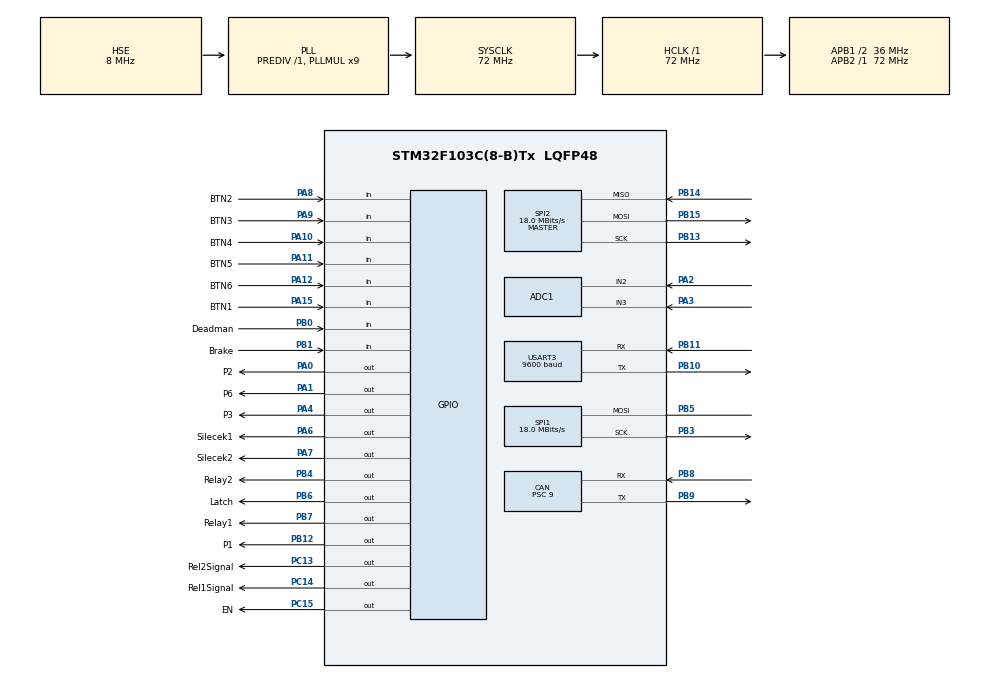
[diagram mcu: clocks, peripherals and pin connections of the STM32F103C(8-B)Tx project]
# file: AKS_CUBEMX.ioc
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ADC1.Channel-2\#ChannelRegularConversion=ADC_CHANNEL_2
ADC1.Channel-3\#ChannelRegularConversion=ADC_CHANNEL_3
ADC1.ContinuousConvMode=ENABLE
ADC1.NbrOfConversion=2
ADC1.NbrOfConversionFlag=1
ADC1.Rank-2\#ChannelRegularConversion=1
ADC1.Rank-3\#ChannelRegularConversion=2
ADC1.SamplingTime-2\#ChannelRegularConversion=ADC_SAMPLETIME_55CYCLES_5
ADC1.SamplingTime-3\#ChannelRegularConversion=ADC_SAMPLETIME_55CYCLES_5
ADC1.master=1
CAN.BS1=CAN_BS1_3TQ
CAN.BS2=CAN_BS2_4TQ
CAN.CalculateBaudRate=500000
CAN.CalculateTimeBit=2000
CAN.CalculateTimeQuantum=250.0
CAN.Prescaler=9
Dma.ADC1.0.Direction=DMA_PERIPH_TO_MEMORY
Dma.ADC1.0.Instance=DMA1_Channel1
Dma.ADC1.0.MemDataAlignment=DMA_MDATAALIGN_WORD
Dma.ADC1.0.MemInc=DMA_MINC_ENABLE
Dma.ADC1.0.Mode=DMA_CIRCULAR
Dma.ADC1.0.PeriphDataAlignment=DMA_PDATAALIGN_WORD
Dma.ADC1.0.PeriphInc=DMA_PINC_DISABLE
Dma.ADC1.0.Priority=DMA_PRIORITY_LOW
Dma.Request0=ADC1
Mcu.Family=STM32F1
Mcu.Name=STM32F103C(8-B)Tx
Mcu.Package=LQFP48
NVIC.DMA1_Channel1_IRQn=true\:0\:0\:false\:false\:true\:false\:true\:true
NVIC.PriorityGroup=NVIC_PRIORITYGROUP_4
NVIC.TIM2_IRQn=true\:0\:0\:false\:false\:true\:true\:true\:true
NVIC.TIM3_IRQn=true\:0\:0\:false\:false\:true\:true\:true\:true
NVIC.TIM4_IRQn=true\:0\:0\:false\:false\:true\:true\:true\:true
PA0-WKUP.GPIO_Label=P2
PA0-WKUP.Signal=GPIO_Output
PA1.GPIO_Label=P6
PA1.Signal=GPIO_Output
PA10.GPIO_Label=BTN4
PA10.GPIO_PuPd=GPIO_PULLDOWN
PA10.Signal=GPIO_Input
PA11.GPIO_Label=BTN5
PA11.GPIO_PuPd=GPIO_PULLDOWN
PA11.Signal=GPIO_Input
PA12.GPIO_Label=BTN6
PA12.GPIO_PuPd=GPIO_PULLDOWN
PA12.Signal=GPIO_Input
PA13.Mode=Serial_Wire
PA13.Signal=SYS_JTMS-SWDIO
PA14.Mode=Serial_Wire
PA14.Signal=SYS_JTCK-SWCLK
PA15.GPIO_Label=BTN1
PA15.GPIO_PuPd=GPIO_PULLDOWN
PA15.Signal=GPIO_Input
PA2.Signal=ADCx_IN2
PA3.Signal=ADCx_IN3
PA4.GPIO_Label=P3
PA4.Signal=GPIO_Output
PA6.GPIO_Label=Silecek1
PA6.Signal=GPIO_Output
PA7.GPIO_Label=Silecek2
PA7.Signal=GPIO_Output
PA8.GPIO_Label=BTN2
PA8.GPIO_PuPd=GPIO_PULLDOWN
PA8.Signal=GPIO_Input
PA9.GPIO_Label=BTN3
PA9.GPIO_PuPd=GPIO_PULLDOWN
PA9.Signal=GPIO_Input
PB0.GPIO_Label=Deadman
PB0.GPIO_PuPd=GPIO_PULLDOWN
PB0.Signal=GPIO_Input
PB1.GPIO_Label=Brake
PB1.GPIO_PuPd=GPIO_PULLDOWN
PB1.Signal=GPIO_Input
PB10.Mode=Asynchronous
PB10.Signal=USART3_TX
PB11.Mode=Asynchronous
PB11.Signal=USART3_RX
PB12.GPIO_Label=P1
PB12.Signal=GPIO_Output
PB13.Mode=Full_Duplex_Master
PB13.Signal=SPI2_SCK
PB14.Mode=Full_Duplex_Master
PB14.Signal=SPI2_MISO
PB15.Mode=Full_Duplex_Master
PB15.Signal=SPI2_MOSI
PB3.Mode=Simplex_Bidirectional_Master
PB3.Signal=SPI1_SCK
PB4.GPIO_Label=Relay2
PB4.Signal=GPIO_Output
PB5.Mode=Simplex_Bidirectional_Master
PB5.Signal=SPI1_MOSI
PB6.GPIO_Label=Latch
PB6.Signal=GPIO_Output
PB7.GPIO_Label=Relay1
PB7.Signal=GPIO_Output
PB8.Mode=CAN_Activate
PB8.Signal=CAN_RX
PB9.Mode=CAN_Activate
PB9.Signal=CAN_TX
PC13-TAMPER-RTC.GPIO_Label=Rel2Signal
PC13-TAMPER-RTC.Signal=GPIO_Output
PC14-OSC32_IN.GPIO_Label=Rel1Signal
PC14-OSC32_IN.Signal=GPIO_Output
PC15-OSC32_OUT.GPIO_Label=EN
PC15-OSC32_OUT.Signal=GPIO_Output
PD0-OSC_IN.Mode=HSE-External-Oscillator
PD0-OSC_IN.Signal=RCC_OSC_IN
PD1-OSC_OUT.Mode=HSE-External-Oscillator
PD1-OSC_OUT.Signal=RCC_OSC_OUT
ProjectManager.HeapSize=0x200
ProjectManager.StackSize=0x400
ProjectManager.TargetToolchain=MDK-ARM V5.32
RCC.ADCPresc=RCC_ADCPCLK2_DIV6
RCC.AHBFreq_Value=72000000
RCC.APB1CLKDivider=RCC_HCLK_DIV2
RCC.APB1Freq_Value=36000000
RCC.APB1TimFreq_Value=72000000
RCC.APB2Freq_Value=72000000
RCC.APB2TimFreq_Value=72000000
RCC.HCLKFreq_Value=72000000
RCC.PLLMUL=RCC_PLL_MUL9
RCC.PLLSourceVirtual=RCC_PLLSOURCE_HSE
RCC.SYSCLKFreq_VALUE=72000000
RCC.SYSCLKSource=RCC_SYSCLKSOURCE_PLLCLK
RCC.USBFreq_Value=72000000
SH.ADCx_IN2.0=ADC1_IN2,IN2
SH.ADCx_IN3.0=ADC1_IN3,IN3
SPI1.BaudRatePrescaler=SPI_BAUDRATEPRESCALER_4
SPI1.CalculateBaudRate=18.0 MBits/s
SPI1.Direction=SPI_DIRECTION_1LINE
SPI1.Mode=SPI_MODE_MASTER
SPI1.VirtualType=VM_MASTER
SPI2.BaudRatePrescaler=SPI_BAUDRATEPRESCALER_2
SPI2.CalculateBaudRate=18.0 MBits/s
SPI2.Direction=SPI_DIRECTION_2LINES
SPI2.Mode=SPI_MODE_MASTER
SPI2.VirtualType=VM_MASTER
TIM2.AutoReloadPreload=TIM_AUTORELOAD_PRELOAD_ENABLE
TIM2.Period=7200
TIM2.Prescaler=500
TIM3.AutoReloadPreload=TIM_AUTORELOAD_PRELOAD_ENABLE
TIM3.Period=9999
TIM3.Prescaler=3599
TIM4.AutoReloadPreload=TIM_AUTORELOAD_PRELOAD_ENABLE
TIM4.Period=6999
TIM4.Prescaler=3599
USART3.BaudRate=9600
USART3.Mode=MODE_TX_RX
USART3.VirtualMode=VM_ASYNC
VP_TIM2_VS_ClockSourceINT.Mode=Internal
VP_TIM3_VS_ClockSourceINT.Mode=Internal
VP_TIM4_VS_ClockSourceINT.Mode=Internal
board=custom

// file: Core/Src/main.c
/* USER CODE BEGIN Header */
/**
  ******************************************************************************
  * @file           : main.c
  * @brief          : Main program body
  ******************************************************************************
  * @attention
  *
  * Copyright (c) 2023 STMicroelectronics.
  * All rights reserved.
  *
  * This software is licensed under terms that can be found in the LICENSE file
  * in the root directory of this software component.
  * If no LICENSE file comes with this software, it is provided AS-IS.
  *
  ******************************************************************************
  */
/* USER CODE END Header */
#include "main.h"

/* USER CODE BEGIN Includes */
#include "string.h"
#include "stdio.h"
/* USER CODE END Includes */

ADC_HandleTypeDef hadc1;
DMA_HandleTypeDef hdma_adc1;

CAN_HandleTypeDef hcan;

SPI_HandleTypeDef hspi1;
SPI_HandleTypeDef hspi2;

TIM_HandleTypeDef htim2;
TIM_HandleTypeDef htim3;
TIM_HandleTypeDef htim4;

UART_HandleTypeDef huart3;

/* USER CODE BEGIN PV */
uint8_t BTN_States = 0;
uint8_t emergency_check_deadman = 0;
uint8_t emergency_check_can = 0;

uint16_t BTN1;
uint16_t BTN2;
uint16_t BTN3;
uint16_t Brake;
uint16_t Deadman;
uint16_t Wiper;
uint16_t Hazard;

uint32_t adcbuffer[2];
uint32_t adc_data1;
uint32_t adc_data2;

uint32_t Riso_neg;
uint32_t Riso_pos;
double isoneg,isopos;
double Vref = 2.5;
double Rs1 = 5110;
double Rs2 = 5110;
double Rps1_Rps2 = 10000;
double Rns1_Rns2 = 10000;
uint8_t SoC;//soc degeri bataryadan çekilecek

CAN_FilterTypeDef canfilterconfig;
CAN_TxHeaderTypeDef   TxHeader;
CAN_RxHeaderTypeDef   RxHeader;
uint8_t               TxData[8];
uint8_t               RxData[8];
uint32_t              TxMailbox;
uint8_t				  			RFData[64];

uint8_t UARTData[6];
uint8_t endcom[] = {0xFF,0xFF,0xFF};

int wiperFlag = 0;

/* USER CODE END PV */

void SystemClock_Config(void);
static void MX_GPIO_Init(void);
static void MX_DMA_Init(void);
static void MX_CAN_Init(void);
static void MX_SPI1_Init(void);
static void MX_SPI2_Init(void);
static void MX_USART3_UART_Init(void);
static void MX_TIM2_Init(void);
static void MX_ADC1_Init(void);
static void MX_TIM3_Init(void);
static void MX_TIM4_Init(void);
/* USER CODE BEGIN PFP */

void HAL_ADC_ConvCpltCallback(ADC_HandleTypeDef* hadc){

	if(hadc->Instance == ADC1){
		adc_data1 = adcbuffer[0];
		adc_data2 = adcbuffer[1];
	}
}

/* USER CODE END PFP */

/* USER CODE BEGIN 0 */

enum Controls
{
	Headlight_On,
	Headlight_Off,
	LeftSignal_On,
	LeftSignal_Off,
	RightSignal_On,
	RightSignal_Off,
	Brake_On,
	Brake_Off,
	Deadman_On,
	Deadman_Off,
	Wiper_On,
	Wiper_Off,
	Hazard_On,
	Hazard_Off
};

void buttonListener(void);
void updateLight(enum Controls command);
void ADC_RELAY(void);
float map(float num, float oldmax, float oldmin, float conMax, float conMin);
void emergency(void);
void send_Riso(int control);
void GET_CAN_MESSAGE(void);

/* USER CODE END 0 */

int main(void)
{

  /* MCU Configuration--------------------------------------------------------*/

  /* Reset of all peripherals, Initializes the Flash interface and the Systick. */
  HAL_Init();

  /* Configure the system clock */
  SystemClock_Config();

  /* Initialize all configured peripherals */
  MX_GPIO_Init();
  MX_DMA_Init();
  MX_CAN_Init();
  MX_SPI1_Init();
  MX_SPI2_Init();
  MX_USART3_UART_Init();
  MX_TIM2_Init();
  MX_ADC1_Init();
  MX_TIM3_Init();
  MX_TIM4_Init();
  /* USER CODE BEGIN 2 */

	TxHeader.DLC = 8;
	TxHeader.IDE = CAN_ID_STD;
	TxHeader.RTR = CAN_RTR_DATA;
	TxHeader.StdId = 0x7FF;

	TxHeader.TransmitGlobalTime = DISABLE;

	TxData[0] = 0x80;
	TxData[1] = 0x80;

	HAL_TIM_Base_Start_IT(&htim2);
	HAL_TIM_Base_Start_IT(&htim3);
	HAL_TIM_Base_Start_IT(&htim4);

	HAL_ADC_Start_DMA(&hadc1,adcbuffer,2);

  canfilterconfig.FilterFIFOAssignment = CAN_RX_FIFO0;
  canfilterconfig.FilterScale = CAN_FILTERSCALE_32BIT;
	canfilterconfig.FilterActivation = ENABLE;

  HAL_CAN_ConfigFilter(&hcan, &canfilterconfig);
	HAL_CAN_Start(&hcan);

  /* USER CODE END 2 */

  /* Infinite loop */
  /* USER CODE BEGIN WHILE */
  while (1)
  {
		HAL_CAN_GetRxMessage(&hcan,CAN_RX_FIFO0,&RxHeader,RxData);
		GET_CAN_MESSAGE();

    /* USER CODE END WHILE */

  }
}

void SystemClock_Config(void)
{
  RCC_OscInitTypeDef RCC_OscInitStruct = {0};
  RCC_ClkInitTypeDef RCC_ClkInitStruct = {0};
  RCC_PeriphCLKInitTypeDef PeriphClkInit = {0};

  /** Initializes the RCC Oscillators according to the specified parameters
  * in the RCC_OscInitTypeDef structure.
  */
  RCC_OscInitStruct.OscillatorType = RCC_OSCILLATORTYPE_HSE;
  RCC_OscInitStruct.HSEState = RCC_HSE_ON;
  RCC_OscInitStruct.HSEPredivValue = RCC_HSE_PREDIV_DIV1;
  RCC_OscInitStruct.HSIState = RCC_HSI_ON;
  RCC_OscInitStruct.PLL.PLLState = RCC_PLL_ON;
  RCC_OscInitStruct.PLL.PLLSource = RCC_PLLSOURCE_HSE;
  RCC_OscInitStruct.PLL.PLLMUL = RCC_PLL_MUL9;
  if (HAL_RCC_OscConfig(&RCC_OscInitStruct) != HAL_OK)
  {
    Error_Handler();
  }

  /** Initializes the CPU, AHB and APB buses clocks
  */
  RCC_ClkInitStruct.ClockType = RCC_CLOCKTYPE_HCLK|RCC_CLOCKTYPE_SYSCLK
                              |RCC_CLOCKTYPE_PCLK1|RCC_CLOCKTYPE_PCLK2;
  RCC_ClkInitStruct.SYSCLKSource = RCC_SYSCLKSOURCE_PLLCLK;
  RCC_ClkInitStruct.AHBCLKDivider = RCC_SYSCLK_DIV1;
  RCC_ClkInitStruct.APB1CLKDivider = RCC_HCLK_DIV2;
  RCC_ClkInitStruct.APB2CLKDivider = RCC_HCLK_DIV1;

  if (HAL_RCC_ClockConfig(&RCC_ClkInitStruct, FLASH_LATENCY_2) != HAL_OK)
  {
    Error_Handler();
  }
  PeriphClkInit.PeriphClockSelection = RCC_PERIPHCLK_ADC;
  PeriphClkInit.AdcClockSelection = RCC_ADCPCLK2_DIV6;
  if (HAL_RCCEx_PeriphCLKConfig(&PeriphClkInit) != HAL_OK)
  {
    Error_Handler();
  }
}

static void MX_ADC1_Init(void)
{

  ADC_ChannelConfTypeDef sConfig = {0};

  /** Common config
  */
  hadc1.Instance = ADC1;
  hadc1.Init.ScanConvMode = ADC_SCAN_ENABLE;
  hadc1.Init.ContinuousConvMode = ENABLE;
  hadc1.Init.DiscontinuousConvMode = DISABLE;
  hadc1.Init.ExternalTrigConv = ADC_SOFTWARE_START;
  hadc1.Init.DataAlign = ADC_DATAALIGN_RIGHT;
  hadc1.Init.NbrOfConversion = 2;
  if (HAL_ADC_Init(&hadc1) != HAL_OK)
  {
    Error_Handler();
  }

  /** Configure Regular Channel
  */
  sConfig.Channel = ADC_CHANNEL_2;
  sConfig.Rank = ADC_REGULAR_RANK_1;
  sConfig.SamplingTime = ADC_SAMPLETIME_55CYCLES_5;
  if (HAL_ADC_ConfigChannel(&hadc1, &sConfig) != HAL_OK)
  {
    Error_Handler();
  }

  /** Configure Regular Channel
  */
  sConfig.Channel = ADC_CHANNEL_3;
  sConfig.Rank = ADC_REGULAR_RANK_2;
  if (HAL_ADC_ConfigChannel(&hadc1, &sConfig) != HAL_OK)
  {
    Error_Handler();
  }

}

static void MX_CAN_Init(void)
{

  hcan.Instance = CAN1;
  hcan.Init.Prescaler = 9;
  hcan.Init.Mode = CAN_MODE_NORMAL;
  hcan.Init.SyncJumpWidth = CAN_SJW_1TQ;
  hcan.Init.TimeSeg1 = CAN_BS1_3TQ;
  hcan.Init.TimeSeg2 = CAN_BS2_4TQ;
  hcan.Init.TimeTriggeredMode = DISABLE;
  hcan.Init.AutoBusOff = DISABLE;
  hcan.Init.AutoWakeUp = DISABLE;
  hcan.Init.AutoRetransmission = DISABLE;
  hcan.Init.ReceiveFifoLocked = DISABLE;
  hcan.Init.TransmitFifoPriority = DISABLE;
  if (HAL_CAN_Init(&hcan) != HAL_OK)
  {
    Error_Handler();
  }

}

static void MX_SPI1_Init(void)
{

  /* SPI1 parameter configuration*/
  hspi1.Instance = SPI1;
  hspi1.Init.Mode = SPI_MODE_MASTER;
  hspi1.Init.Direction = SPI_DIRECTION_1LINE;
  hspi1.Init.DataSize = SPI_DATASIZE_8BIT;
  hspi1.Init.CLKPolarity = SPI_POLARITY_LOW;
  hspi1.Init.CLKPhase = SPI_PHASE_1EDGE;
  hspi1.Init.NSS = SPI_NSS_SOFT;
  hspi1.Init.BaudRatePrescaler = SPI_BAUDRATEPRESCALER_4;
  hspi1.Init.FirstBit = SPI_FIRSTBIT_MSB;
  hspi1.Init.TIMode = SPI_TIMODE_DISABLE;
  hspi1.Init.CRCCalculation = SPI_CRCCALCULATION_DISABLE;
  hspi1.Init.CRCPolynomial = 10;
  if (HAL_SPI_Init(&hspi1) != HAL_OK)
  {
    Error_Handler();
  }

}

static void MX_SPI2_Init(void)
{

  /* SPI2 parameter configuration*/
  hspi2.Instance = SPI2;
  hspi2.Init.Mode = SPI_MODE_MASTER;
  hspi2.Init.Direction = SPI_DIRECTION_2LINES;
  hspi2.Init.DataSize = SPI_DATASIZE_8BIT;
  hspi2.Init.CLKPolarity = SPI_POLARITY_LOW;
  hspi2.Init.CLKPhase = SPI_PHASE_1EDGE;
  hspi2.Init.NSS = SPI_NSS_SOFT;
  hspi2.Init.BaudRatePrescaler = SPI_BAUDRATEPRESCALER_2;
  hspi2.Init.FirstBit = SPI_FIRSTBIT_MSB;
  hspi2.Init.TIMode = SPI_TIMODE_DISABLE;
  hspi2.Init.CRCCalculation = SPI_CRCCALCULATION_DISABLE;
  hspi2.Init.CRCPolynomial = 10;
  if (HAL_SPI_Init(&hspi2) != HAL_OK)
  {
    Error_Handler();
  }

}

static void MX_TIM2_Init(void)
{

  TIM_ClockConfigTypeDef sClockSourceConfig = {0};
  TIM_MasterConfigTypeDef sMasterConfig = {0};

  htim2.Instance = TIM2;
  htim2.Init.Prescaler = 500;
  htim2.Init.CounterMode = TIM_COUNTERMODE_UP;
  htim2.Init.Period = 7200;
  htim2.Init.ClockDivision = TIM_CLOCKDIVISION_DIV1;
  htim2.Init.AutoReloadPreload = TIM_AUTORELOAD_PRELOAD_ENABLE;
  if (HAL_TIM_Base_Init(&htim2) != HAL_OK)
  {
    Error_Handler();
  }
  sClockSourceConfig.ClockSource = TIM_CLOCKSOURCE_INTERNAL;
  if (HAL_TIM_ConfigClockSource(&htim2, &sClockSourceConfig) != HAL_OK)
  {
    Error_Handler();
  }
  sMasterConfig.MasterOutputTrigger = TIM_TRGO_RESET;
  sMasterConfig.MasterSlaveMode = TIM_MASTERSLAVEMODE_DISABLE;
  if (HAL_TIMEx_MasterConfigSynchronization(&htim2, &sMasterConfig) != HAL_OK)
  {
    Error_Handler();
  }

}

static void MX_TIM3_Init(void)
{

  TIM_ClockConfigTypeDef sClockSourceConfig = {0};
  TIM_MasterConfigTypeDef sMasterConfig = {0};

  htim3.Instance = TIM3;
  htim3.Init.Prescaler = 3599;
  htim3.Init.CounterMode = TIM_COUNTERMODE_UP;
  htim3.Init.Period = 9999;
  htim3.Init.ClockDivision = TIM_CLOCKDIVISION_DIV1;
  htim3.Init.AutoReloadPreload = TIM_AUTORELOAD_PRELOAD_ENABLE;
  if (HAL_TIM_Base_Init(&htim3) != HAL_OK)
  {
    Error_Handler();
  }
  sClockSourceConfig.ClockSource = TIM_CLOCKSOURCE_INTERNAL;
  if (HAL_TIM_ConfigClockSource(&htim3, &sClockSourceConfig) != HAL_OK)
  {
    Error_Handler();
  }
  sMasterConfig.MasterOutputTrigger = TIM_TRGO_RESET;
  sMasterConfig.MasterSlaveMode = TIM_MASTERSLAVEMODE_DISABLE;
  if (HAL_TIMEx_MasterConfigSynchronization(&htim3, &sMasterConfig) != HAL_OK)
  {
    Error_Handler();
  }

}

static void MX_TIM4_Init(void)
{

  TIM_ClockConfigTypeDef sClockSourceConfig = {0};
  TIM_MasterConfigTypeDef sMasterConfig = {0};

  htim4.Instance = TIM4;
  htim4.Init.Prescaler = 3599;
  htim4.Init.CounterMode = TIM_COUNTERMODE_UP;
  htim4.Init.Period = 6999;
  htim4.Init.ClockDivision = TIM_CLOCKDIVISION_DIV1;
  htim4.Init.AutoReloadPreload = TIM_AUTORELOAD_PRELOAD_ENABLE;
  if (HAL_TIM_Base_Init(&htim4) != HAL_OK)
  {
    Error_Handler();
  }
  sClockSourceConfig.ClockSource = TIM_CLOCKSOURCE_INTERNAL;
  if (HAL_TIM_ConfigClockSource(&htim4, &sClockSourceConfig) != HAL_OK)
  {
    Error_Handler();
  }
  sMasterConfig.MasterOutputTrigger = TIM_TRGO_RESET;
  sMasterConfig.MasterSlaveMode = TIM_MASTERSLAVEMODE_DISABLE;
  if (HAL_TIMEx_MasterConfigSynchronization(&htim4, &sMasterConfig) != HAL_OK)
  {
    Error_Handler();
  }

}

static void MX_USART3_UART_Init(void)
{

  huart3.Instance = USART3;
  huart3.Init.BaudRate = 9600;
  huart3.Init.WordLength = UART_WORDLENGTH_8B;
  huart3.Init.StopBits = UART_STOPBITS_1;
  huart3.Init.Parity = UART_PARITY_NONE;
  huart3.Init.Mode = UART_MODE_TX_RX;
  huart3.Init.HwFlowCtl = UART_HWCONTROL_NONE;
  huart3.Init.OverSampling = UART_OVERSAMPLING_16;
  if (HAL_UART_Init(&huart3) != HAL_OK)
  {
    Error_Handler();
  }

}

static void MX_DMA_Init(void)
{

  /* DMA controller clock enable */
  __HAL_RCC_DMA1_CLK_ENABLE();

  /* DMA interrupt init */
  /* DMA1_Channel1_IRQn interrupt configuration */
  HAL_NVIC_SetPriority(DMA1_Channel1_IRQn, 0, 0);
  HAL_NVIC_EnableIRQ(DMA1_Channel1_IRQn);

}

static void MX_GPIO_Init(void)
{
  GPIO_InitTypeDef GPIO_InitStruct = {0};

  /* GPIO Ports Clock Enable */
  __HAL_RCC_GPIOC_CLK_ENABLE();
  __HAL_RCC_GPIOD_CLK_ENABLE();
  __HAL_RCC_GPIOA_CLK_ENABLE();
  __HAL_RCC_GPIOB_CLK_ENABLE();

  /*Configure GPIO pin Output Level */
  HAL_GPIO_WritePin(GPIOC, Rel2Signal_Pin|Rel1Signal_Pin|EN_Pin, GPIO_PIN_RESET);

  /*Configure GPIO pin Output Level */
  HAL_GPIO_WritePin(GPIOA, P2_Pin|P6_Pin|P3_Pin|Silecek1_Pin
                          |Silecek2_Pin, GPIO_PIN_RESET);

  /*Configure GPIO pin Output Level */
  HAL_GPIO_WritePin(GPIOB, P1_Pin|Relay2_Pin|Latch_Pin|Relay1_Pin, GPIO_PIN_RESET);

  /*Configure GPIO pins : Rel2Signal_Pin Rel1Signal_Pin EN_Pin */
  GPIO_InitStruct.Pin = Rel2Signal_Pin|Rel1Signal_Pin|EN_Pin;
  GPIO_InitStruct.Mode = GPIO_MODE_OUTPUT_PP;
  GPIO_InitStruct.Pull = GPIO_NOPULL;
  GPIO_InitStruct.Speed = GPIO_SPEED_FREQ_LOW;
  HAL_GPIO_Init(GPIOC, &GPIO_InitStruct);

  /*Configure GPIO pins : P2_Pin P6_Pin P3_Pin Silecek1_Pin
                           Silecek2_Pin */
  GPIO_InitStruct.Pin = P2_Pin|P6_Pin|P3_Pin|Silecek1_Pin
                          |Silecek2_Pin;
  GPIO_InitStruct.Mode = GPIO_MODE_OUTPUT_PP;
  GPIO_InitStruct.Pull = GPIO_NOPULL;
  GPIO_InitStruct.Speed = GPIO_SPEED_FREQ_LOW;
  HAL_GPIO_Init(GPIOA, &GPIO_InitStruct);

  /*Configure GPIO pins : Deadman_Pin Brake_Pin */
  GPIO_InitStruct.Pin = Deadman_Pin|Brake_Pin;
  GPIO_InitStruct.Mode = GPIO_MODE_INPUT;
  GPIO_InitStruct.Pull = GPIO_PULLDOWN;
  HAL_GPIO_Init(GPIOB, &GPIO_InitStruct);

  /*Configure GPIO pins : P1_Pin Relay2_Pin Latch_Pin Relay1_Pin */
  GPIO_InitStruct.Pin = P1_Pin|Relay2_Pin|Latch_Pin|Relay1_Pin;
  GPIO_InitStruct.Mode = GPIO_MODE_OUTPUT_PP;
  GPIO_InitStruct.Pull = GPIO_NOPULL;
  GPIO_InitStruct.Speed = GPIO_SPEED_FREQ_LOW;
  HAL_GPIO_Init(GPIOB, &GPIO_InitStruct);

  /*Configure GPIO pins : BTN2_Pin BTN3_Pin BTN4_Pin BTN5_Pin
                           BTN6_Pin BTN1_Pin */
  GPIO_InitStruct.Pin = BTN2_Pin|BTN3_Pin|BTN4_Pin|BTN5_Pin
                          |BTN6_Pin|BTN1_Pin;
  GPIO_InitStruct.Mode = GPIO_MODE_INPUT;
  GPIO_InitStruct.Pull = GPIO_PULLDOWN;
  HAL_GPIO_Init(GPIOA, &GPIO_InitStruct);

}

/* USER CODE BEGIN 4 */

void HAL_TIM_PeriodElapsedCallback(TIM_HandleTypeDef* htim)
{

	if(htim->Instance == TIM2){

		HAL_CAN_AddTxMessage(&hcan,&TxHeader,TxData,&TxMailbox);

		buttonListener();
		emergency();
	}

	if(htim->Instance == TIM3){

		if(Hazard == 1){
			HAL_GPIO_TogglePin(GPIOB,GPIO_PIN_12);
			HAL_GPIO_TogglePin(GPIOA,GPIO_PIN_0);
		}

		if(BTN1 == 1){
			HAL_GPIO_TogglePin(GPIOB,GPIO_PIN_12);
		}
		if(BTN2 == 1){
			HAL_GPIO_TogglePin(GPIOA,GPIO_PIN_0);
		}

	}

	if(htim->Instance == TIM4){

		if(Wiper == 1 && wiperFlag == 0){

			HAL_GPIO_WritePin(GPIOA,GPIO_PIN_6,GPIO_PIN_SET);
			HAL_GPIO_WritePin(GPIOA,GPIO_PIN_7,GPIO_PIN_RESET);
			wiperFlag = 1;
		}

		else if(Wiper == 1 && wiperFlag == 1){

			HAL_GPIO_WritePin(GPIOA,GPIO_PIN_6,GPIO_PIN_RESET);
			HAL_GPIO_WritePin(GPIOA,GPIO_PIN_7,GPIO_PIN_SET);
			wiperFlag = 0;
		}

	}

}

void buttonListener(void)
{
	BTN1 = HAL_GPIO_ReadPin(GPIOA,GPIO_PIN_15);
	if(BTN1==0 && Hazard==0) HAL_GPIO_WritePin(GPIOB,GPIO_PIN_12,GPIO_PIN_RESET);

	BTN2 = HAL_GPIO_ReadPin(GPIOA,GPIO_PIN_8);
	if(BTN2==0 && Hazard==0) HAL_GPIO_WritePin(GPIOA,GPIO_PIN_0,GPIO_PIN_RESET);

	//BTN 4
	Hazard = HAL_GPIO_ReadPin(GPIOA,GPIO_PIN_10);

	BTN3 = HAL_GPIO_ReadPin(GPIOA,GPIO_PIN_9);
	if(BTN3==0) HAL_GPIO_WritePin(GPIOA,GPIO_PIN_4,GPIO_PIN_RESET);
	if(BTN3==1) HAL_GPIO_WritePin(GPIOA,GPIO_PIN_4,GPIO_PIN_SET);

  //BTN5
	Brake = HAL_GPIO_ReadPin(GPIOA,GPIO_PIN_11);
	if(Brake==0) HAL_GPIO_WritePin(GPIOA,GPIO_PIN_1,GPIO_PIN_RESET);
	if(Brake==1) HAL_GPIO_WritePin(GPIOA,GPIO_PIN_1,GPIO_PIN_SET);

	//Deadman
	Deadman = HAL_GPIO_ReadPin(GPIOB,GPIO_PIN_0);
	if(Deadman==0) emergency_check_deadman = 0;
	if(Deadman==1) emergency_check_deadman = 1;

	//BTN6
	Wiper = HAL_GPIO_ReadPin(GPIOA,GPIO_PIN_12);
	if(Wiper==0) {HAL_GPIO_WritePin(GPIOA,GPIO_PIN_6|GPIO_PIN_7,GPIO_PIN_RESET); wiperFlag = 0;}

}

//void updateLight(enum Controls command)
//{
//	uint8_t checkBTN_States = BTN_States;
//	// Headlight - Brake - RightSignal - LeftSignal
//	switch(command){
//
//		case LeftSignal_On:

//				HAL_GPIO_WritePin(GPIOB,GPIO_PIN_6,GPIO_PIN_RESET);
//
//				BTN_States ^= (1 << 0);
//				HAL_SPI_Transmit(&hspi1,&BTN_States,sizeof(BTN_States),HAL_MAX_DELAY);
//
//				HAL_GPIO_WritePin(GPIOB,GPIO_PIN_6,GPIO_PIN_SET);
//
//			break;
//
//		case LeftSignal_Off:
//
//			if((checkBTN_States &= ~(1<<0)) != BTN_States){
//				HAL_GPIO_WritePin(GPIOB,GPIO_PIN_6,GPIO_PIN_RESET);
//				BTN_States &= ~(1 << 0);
//				HAL_SPI_Transmit(&hspi1,&BTN_States,sizeof(BTN_States),HAL_MAX_DELAY);
//				HAL_GPIO_WritePin(GPIOB,GPIO_PIN_6,GPIO_PIN_SET);
//
//			}
//			break;
//
//		case RightSignal_On:

//				HAL_GPIO_WritePin(GPIOB,GPIO_PIN_6,GPIO_PIN_RESET);
//
//				BTN_States ^= (1 << 1);
//				HAL_SPI_Transmit(&hspi1,&BTN_States,sizeof(BTN_States),HAL_MAX_DELAY);
//				HAL_GPIO_WritePin(GPIOB,GPIO_PIN_6,GPIO_PIN_SET);
//
//			break;
//
//		case RightSignal_Off:
//
//			if((checkBTN_States &= ~(1 << 1)) != BTN_States){
//				HAL_GPIO_WritePin(GPIOB,GPIO_PIN_6,GPIO_PIN_RESET);
//				BTN_States &= ~(1 << 1);
//				HAL_SPI_Transmit(&hspi1,&BTN_States,sizeof(BTN_States),HAL_MAX_DELAY);
//				HAL_GPIO_WritePin(GPIOB,GPIO_PIN_6,GPIO_PIN_SET);
//			}
//			break;
//
//		case Brake_On:
//
//			if((checkBTN_States |= (1 << 2)) != BTN_States){
//				HAL_GPIO_WritePin(GPIOB,GPIO_PIN_6,GPIO_PIN_RESET);
//				BTN_States |= (1 << 2);
//				HAL_SPI_Transmit(&hspi1,&BTN_States,sizeof(BTN_States),HAL_MAX_DELAY);
//				HAL_GPIO_WritePin(GPIOB,GPIO_PIN_6,GPIO_PIN_SET);
//			}
//			break;
//
//		case Brake_Off:
//
//			if((checkBTN_States &= ~(1 << 2)) != BTN_States){
//				HAL_GPIO_WritePin(GPIOB,GPIO_PIN_6,GPIO_PIN_RESET);
//				BTN_States &= ~(1 << 2);
//				HAL_SPI_Transmit(&hspi1,&BTN_States,sizeof(BTN_States),HAL_MAX_DELAY);
//				HAL_GPIO_WritePin(GPIOB,GPIO_PIN_6,GPIO_PIN_SET);
//			}
//			break;
//
//		case Headlight_On:
//
//			if((checkBTN_States |= (1 << 3)) != BTN_States){
//				HAL_GPIO_WritePin(GPIOB,GPIO_PIN_6,GPIO_PIN_RESET);
//				BTN_States |= (1 << 3);
//				HAL_SPI_Transmit(&hspi1,&BTN_States,sizeof(BTN_States),HAL_MAX_DELAY);
//				HAL_GPIO_WritePin(GPIOB,GPIO_PIN_6,GPIO_PIN_SET);
//			}
//			break;
//
//		case Headlight_Off:
//
//			if((checkBTN_States &= ~(1 << 3)) != BTN_States){
//				HAL_GPIO_WritePin(GPIOB,GPIO_PIN_6,GPIO_PIN_RESET);
//				BTN_States &= ~(1 << 3);
//				HAL_SPI_Transmit(&hspi1,&BTN_States,sizeof(BTN_States),HAL_MAX_DELAY);
//				HAL_GPIO_WritePin(GPIOB,GPIO_PIN_6,GPIO_PIN_SET);
//			}
//			break;
//	}
//}

//void ADC_RELAY(void){
//
//	HAL_GPIO_WritePin(GPIOA,GPIO_PIN_6,GPIO_PIN_SET);
//	HAL_GPIO_WritePin(GPIOA,GPIO_PIN_7,GPIO_PIN_RESET);
//
//	isoneg = map(adc_data1,4096,0,3.3,0);//
//
//	if(isoneg > 2.55){//
//		HAL_GPIO_WritePin(BuzzerSignal_GPIO_Port,BuzzerSignal_Pin,GPIO_PIN_SET);
//	}
//	else{
//		HAL_GPIO_WritePin(BuzzerSignal_GPIO_Port,BuzzerSignal_Pin,GPIO_PIN_RESET);
//	}
//
//	Riso_neg = (uint32_t)(((((double)SoC + Vref) * Rs2) / isoneg - Vref) - Rns1_Rns2);
//
//	HAL_GPIO_WritePin(GPIOA,GPIO_PIN_6,GPIO_PIN_RESET);
//	HAL_GPIO_WritePin(GPIOA,GPIO_PIN_7,GPIO_PIN_SET);
//
//	isopos = map(adc_data2,4096,0,3.3,0);//
//
//	if(isopos > 2.55){//
//		HAL_GPIO_WritePin(BuzzerSignal_GPIO_Port,BuzzerSignal_Pin,GPIO_PIN_SET);
//	}
//	else{
//		HAL_GPIO_WritePin(BuzzerSignal_GPIO_Port,BuzzerSignal_Pin,GPIO_PIN_RESET);
//	}
//
//	Riso_pos = (uint32_t)(((Vref-((SoC-Vref)*Rs1))/isopos)-Rps1_Rps2);
//}

//void send_Riso(int control){
//	if (!control){//isopos
//		Riso = (uint32_t)(((Vref-((SoC-Vref)*Rs1))/isopos)-Rps1_Rps2);
//	}
//	if(control){//isoneg
//		Riso = (uint32_t)(((((double)SoC + Vref) * Rs2) / isoneg - Vref) - Rns1_Rns2);
//		Riso = Riso / 1000000; //MegaOhm cinsine çevirme
//	}
//}

float map(float num, float oldmax, float oldmin, float conMax, float conMin){
	return (((num - oldmin) * (conMax-conMin))/ (oldmax - oldmin)) + conMin;
}

void emergency(void){
	if(emergency_check_deadman == 1 || emergency_check_can == 1){
		HAL_GPIO_WritePin(GPIOC,GPIO_PIN_13|GPIO_PIN_14,GPIO_PIN_SET);
	}
	else{
		HAL_GPIO_WritePin(GPIOC,GPIO_PIN_13|GPIO_PIN_14,GPIO_PIN_RESET);
	}
}

void GET_CAN_MESSAGE(void){

  switch (RxHeader.StdId)
  {
  case 0x300://batarya
		RFData[0] = RxData[0];//Voltage
		RFData[1] = RxData[1];//Max Temperature
		RFData[2] = RxData[2];//SOC
	  break;

	case 0x303://motor sürücü
		RFData[3] = RxData[3];//Hiz
		RFData[4] = RxData[4]; //Akim
		break;
  }

	if(RFData[1] >= 70){
		emergency_check_can = 1;
	}

	if(RFData[1] < 70){
		emergency_check_can = 0;
	}

}

/* USER CODE END 4 */

void Error_Handler(void)
{
  __disable_irq();
  while (1)
  {
  }
}
